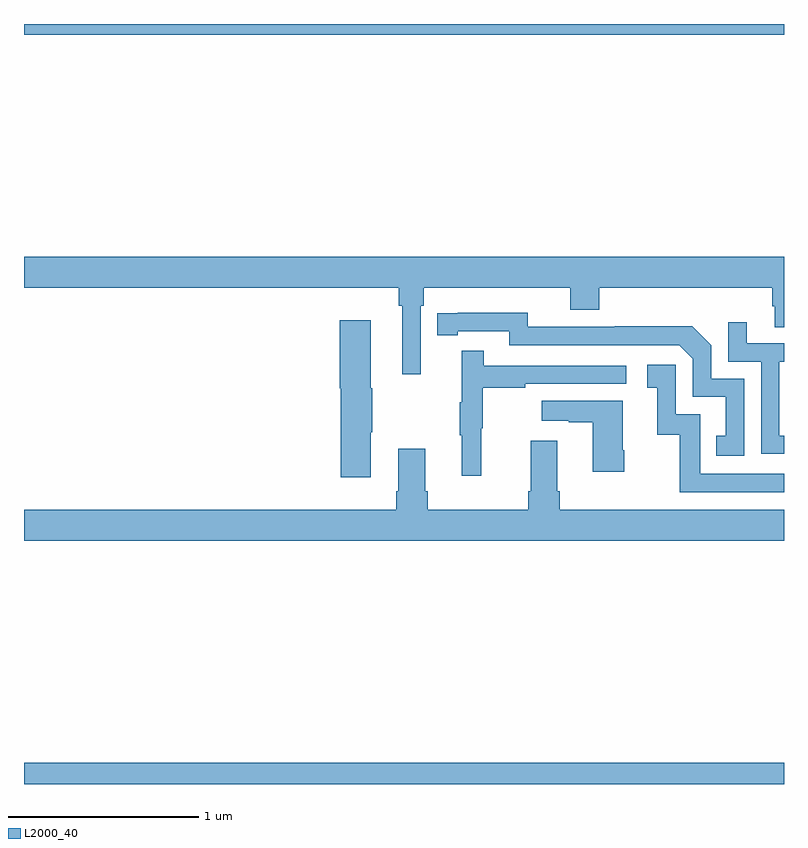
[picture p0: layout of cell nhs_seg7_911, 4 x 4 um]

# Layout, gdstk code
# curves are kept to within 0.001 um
import gdstk
lib = gdstk.Library(unit=1e-6, precision=1e-09)
def R(c, l, rs):  # rectangles x0, y0, x1, y1
    for r in rs: c.add(gdstk.rectangle(r[:2], r[2:], *l))
def P(c, l, *ps):  # polygons
    for p in ps: c.add(gdstk.Polygon(p, *l))
L2000_40 = (2000, 40)

nhs_seg7_911 = lib.new_cell('nhs_seg7_911')
R(nhs_seg7_911, L2000_40, [(179,1002,183,1002.112), (179,1005.944,183,1006)])
P(nhs_seg7_911, L2000_40, [(181.089,1004.516),(181.103,1004.516),(181.103,1004.612),(181.874,1004.612),(181.874,1004.495),(182.027,1004.495),(182.027,1004.612),(182.939,1004.612),(182.939,1004.514),(182.951,1004.514),(182.951,1004.404),(183,1004.404),(183,1004.776),(179,1004.776),(179,1004.612),(180.973,1004.612),(180.973,1004.516),(180.992,1004.516),(180.992,1004.157),(181.089,1004.157)],
  [(182.79,1004.133),(182.616,1004.133),(182.616,1004.31),(182.518,1004.408),(182.11,1004.408),(182.11,1004.406),(181.65,1004.406),(181.65,1004.479),(181.174,1004.478),(181.174,1004.362),(181.282,1004.362),(181.282,1004.382),(181.554,1004.382),(181.554,1004.31),(182.448,1004.31),(182.52,1004.238),(182.52,1004.037),(182.693,1004.037),(182.693,1003.833),(182.644,1003.833),(182.644,1003.728),(182.79,1003.728)],
  [(180.826,1003.852),(180.834,1003.852),(180.834,1004.082),(180.826,1004.082),(180.826,1004.44),(180.662,1004.44),(180.662,1004.082),(180.668,1004.082),(180.668,1003.614),(180.826,1003.614)],
  [(183,1003.834),(182.976,1003.834),(182.976,1004.223),(183,1004.223),(183,1004.319),(182.803,1004.319),(182.803,1004.431),(182.706,1004.431),(182.706,1004.223),(182.88,1004.223),(182.88,1003.737),(183,1003.737)],
  [(181.406,1003.872),(181.414,1003.872),(181.414,1004.086),(181.637,1004.086),(181.637,1004.106),(182.17,1004.106),(182.17,1004.202),(181.421,1004.202),(181.421,1004.281),(181.304,1004.281),(181.304,1004.009),(181.293,1004.009),(181.293,1003.835),(181.304,1003.835),(181.304,1003.623),(181.406,1003.623)],
  [(183,1003.632),(182.559,1003.632),(182.559,1003.947),(182.43,1003.947),(182.43,1004.206),(182.28,1004.206),(182.28,1004.085),(182.333,1004.085),(182.333,1003.839),(182.451,1003.839),(182.451,1003.536),(183,1003.536)],
  [(182.16,1003.756),(182.152,1003.756),(182.152,1004.017),(181.725,1004.017),(181.725,1003.913),(181.868,1003.913),(181.868,1003.903),(181.994,1003.903),(181.994,1003.644),(182.16,1003.644)],
  [(183,1003.444),(181.82,1003.444),(181.82,1003.54),(181.807,1003.54),(181.807,1003.807),(181.667,1003.807),(181.667,1003.54),(181.655,1003.54),(181.655,1003.444),(181.124,1003.444),(181.124,1003.54),(181.111,1003.54),(181.111,1003.765),(180.971,1003.765),(180.971,1003.54),(180.959,1003.54),(180.959,1003.444),(179,1003.444),(179,1003.28),(183,1003.28)])

lib.write_gds('nhs_seg7_911.gds')
